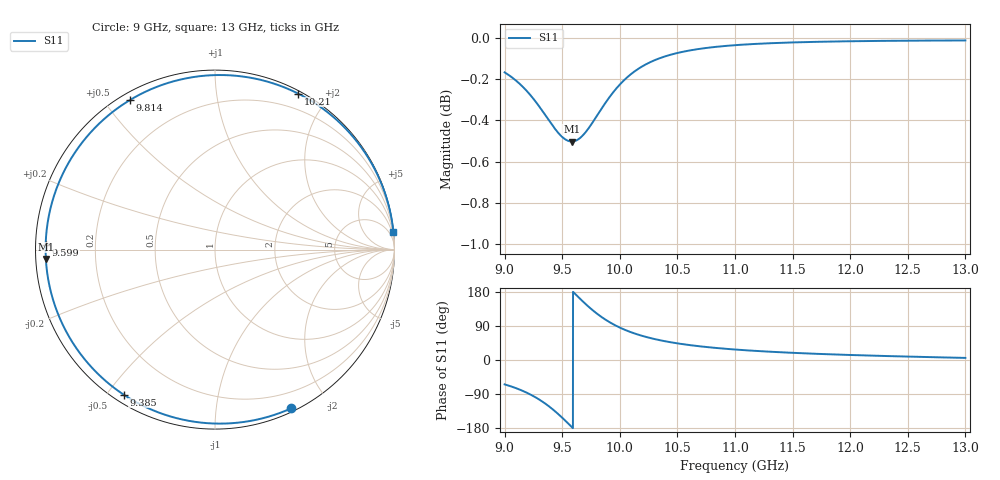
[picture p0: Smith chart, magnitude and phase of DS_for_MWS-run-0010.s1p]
! TOUCHSTONE file generated by CST DESIGN STUDIO
! Date and time: Tue Feb  4 13:48:55 2025
! Project name: C:\Work\MatlabApps\UnitCellOptimizationMatlab\CST\unitcell.cst
! Tree item: Tasks\Sweep1\SPara1\S-Parameters
! Header version: 2024
! Port assignment regex: !\s*Touchstone port\s*([0-9]+)\s*=\s*(CST MWS port|CST DES external port|CST DES block port)\s*(.+)\s* \(\"(.*)\"\)(\s*mode\s*([0-9]+))?.*
! Touchstone port assignment:
! Touchstone port 1 = CST DES external port 1 ("")
# GHz S MA R 50
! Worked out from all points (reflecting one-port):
!   4001 points, 9 GHz to 13 GHz, reference 50 ohm
!   lowest |S11| = -0.5 dB at 9.583 GHz (marker M1), VSWR 34.59, Z = 1.45 - j1.38 ohm
!   phase of S11 starts at -64 deg and turns -290 deg over the sweep
!   S11 on the Smith chart (normalised r, x): 9 GHz: 0.03, -1.59; 9.385 GHz: 0.03, -0.55; 9.599 GHz: 0.03, +0.01; 9.814 GHz: 0.03, +0.58; 10.21 GHz: 0.03, +1.67; 13 GHz: 0, +21
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9  0.9811 -64.3
9.047  0.9791 -68.8
9.116  0.9756 -76.3
9.234  0.9679 -92.7
9.314  0.9613 -107.0
9.385  0.955 -122.3
9.442  0.9502 -136.4
9.5  0.9462 -152.3
9.543  0.9444 -164.8
9.583  0.9438 -176.8
9.599  0.9439 178.3
9.654  0.9456 161.8
9.715  0.9497 144.4
9.764  0.9539 131.5
9.814  0.9587 119.5
9.855  0.9626 110.6
9.899  0.9665 102.0
10  0.9744 85.6
10.103  0.9804 72.7
10.215  0.9851 61.9
10.346  0.9888 52.3
10.5  0.9917 43.9
10.72  0.9943 35.3
11  0.9961 27.7
11.5  0.9976 18.9
12  0.9983 13.2
12.5  0.9986 9.0
13  0.9987 5.5
